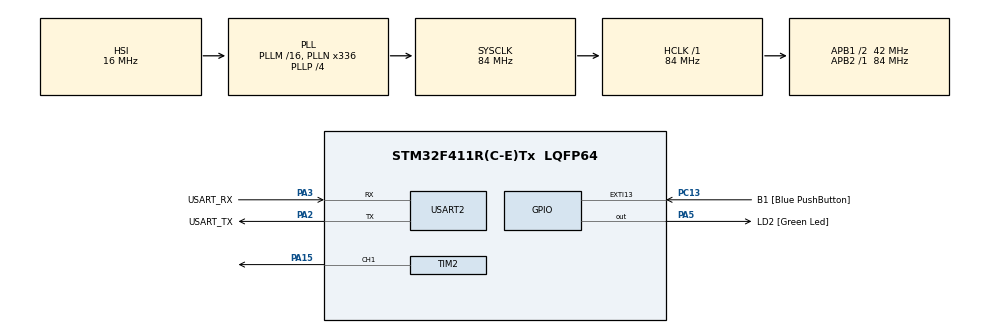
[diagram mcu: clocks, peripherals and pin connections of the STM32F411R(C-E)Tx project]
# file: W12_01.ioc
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Mcu.Family=STM32F4
Mcu.Name=STM32F411R(C-E)Tx
Mcu.Package=LQFP64
NVIC.PriorityGroup=NVIC_PRIORITYGROUP_0
PA13.GPIO_Label=TMS
PA13.Mode=Serial_Wire
PA13.Signal=SYS_JTMS-SWDIO
PA14.GPIO_Label=TCK
PA14.Mode=Serial_Wire
PA14.Signal=SYS_JTCK-SWCLK
PA15.Signal=S_TIM2_CH1_ETR
PA2.GPIO_Label=USART_TX
PA2.Mode=Asynchronous
PA2.Signal=USART2_TX
PA3.GPIO_Label=USART_RX
PA3.Mode=Asynchronous
PA3.Signal=USART2_RX
PA5.GPIO_Label=LD2 [Green Led]
PA5.Signal=GPIO_Output
PB3.GPIO_Label=SWO
PB3.Signal=SYS_JTDO-SWO
PC13-ANTI_TAMP.GPIO_Label=B1 [Blue PushButton]
PC13-ANTI_TAMP.GPIO_ModeDefaultEXTI=GPIO_MODE_IT_FALLING
PC13-ANTI_TAMP.Signal=GPXTI13
PC14-OSC32_IN.Mode=LSE-External-Oscillator
PC14-OSC32_IN.Signal=RCC_OSC32_IN
PC15-OSC32_OUT.Mode=LSE-External-Oscillator
PC15-OSC32_OUT.Signal=RCC_OSC32_OUT
PH0\ -\ OSC_IN.Mode=HSE-External-Clock-Source
PH0\ -\ OSC_IN.Signal=RCC_OSC_IN
PH1\ -\ OSC_OUT.Mode=HSE-External-Clock-Source
PH1\ -\ OSC_OUT.Signal=RCC_OSC_OUT
ProjectManager.HeapSize=0x200
ProjectManager.StackSize=0x400
ProjectManager.TargetToolchain=STM32CubeIDE
RCC.48MHZClocksFreq_Value=84000000
RCC.AHBFreq_Value=84000000
RCC.APB1CLKDivider=RCC_HCLK_DIV2
RCC.APB1Freq_Value=42000000
RCC.APB1TimFreq_Value=84000000
RCC.APB2Freq_Value=84000000
RCC.APB2TimFreq_Value=84000000
RCC.CortexFreq_Value=84000000
RCC.FLatency-AdvancedSettings=FLASH_LATENCY_2
RCC.HCLKFreq_Value=84000000
RCC.HSE_VALUE=8000000
RCC.HSI_VALUE=16000000
RCC.PLLN=336
RCC.PLLP=RCC_PLLP_DIV4
RCC.SYSCLKFreq_VALUE=84000000
RCC.SYSCLKSource=RCC_SYSCLKSOURCE_PLLCLK
RCC.VCOOutputFreq_Value=336000000
SH.S_TIM2_CH1_ETR.0=TIM2_CH1,PWM Generation1 CH1
TIM2.AutoReloadPreload=TIM_AUTORELOAD_PRELOAD_ENABLE
TIM2.Channel-PWM\ Generation1\ CH1=TIM_CHANNEL_1
TIM2.Period=999
TIM2.Prescaler=83
TIM2.Pulse-PWM\ Generation1\ CH1=499
USART2.VirtualMode=VM_ASYNC
VP_TIM2_VS_ClockSourceINT.Mode=Internal
board=NUCLEO-F411RE

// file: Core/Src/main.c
/* USER CODE BEGIN Header */
/**
  ******************************************************************************
  * @file           : main.c
  * @brief          : Main program body
  ******************************************************************************
  * @attention
  *
  * Copyright (c) 2023 STMicroelectronics.
  * All rights reserved.
  *
  * This software is licensed under terms that can be found in the LICENSE file
  * in the root directory of this software component.
  * If no LICENSE file comes with this software, it is provided AS-IS.
  *
  ******************************************************************************
  */
/* USER CODE END Header */
#include "main.h"

/* USER CODE BEGIN PD */

#define DO		261.63
#define RE		293.66
#define MI		329.63
#define FA		349.23
#define SOL		392.00
#define LA		440.00
#define TI		493.88
#define DDO		523.25
#define R		1	// Rest...
#define EOS		-1	// End of Score...
#define FREQUENCY	1000000
#define R		1	// Rest...
#define EOS		-1	// End of Score...
#define FREQUENCY	1000000
#define N2		60*1000/96*2

#define N4		60*1000/96

#define N2N4	(N2+N4)

#define N8		60*1000/96/2

#define N4N8	(N4+N8)

#define R4		60*1000/96

/* USER CODE END PD */

TIM_HandleTypeDef htim2;

UART_HandleTypeDef huart2;

void SystemClock_Config(void);
static void MX_GPIO_Init(void);
static void MX_USART2_UART_Init(void);
static void MX_TIM2_Init(void);

/* USER CODE BEGIN 0 */

#ifdef __GNUC__

/* With GCC, small printf (option LD Linker->Libraries->Small printf

   set to 'Yes') calls __io_putchar() */

#define PUTCHAR_PROTOTYPE int __io_putchar(int ch)

#else

#define PUTCHAR_PROTOTYPE int fputc(int ch, FILE *f)

#endif /* __GNUC__ */

/**

  * @brief  Retargets the C library printf function to the USART.

  * @param  None

  * @retval None

  */

PUTCHAR_PROTOTYPE {

  /* Place your implementation of fputc here */

  /* e.g. write a character to the USART1 and Loop until the end of transmission */

  if (ch == '\n')

    HAL_UART_Transmit (&huart2, (uint8_t*) "\r", 1, 0xFFFF);

  HAL_UART_Transmit (&huart2, (uint8_t*) &ch, 1, 0xFFFF);

  return ch;

}

/* USER CODE END 0 */

int main(void)
{
  /* USER CODE BEGIN 1 */

	int i = 0;

  /* USER CODE END 1 */

  /* MCU Configuration--------------------------------------------------------*/

  /* Reset of all peripherals, Initializes the Flash interface and the Systick. */
  HAL_Init();

  /* Configure the system clock */
  SystemClock_Config();

  /* Initialize all configured peripherals */
  MX_GPIO_Init();
  MX_USART2_UART_Init();
  MX_TIM2_Init();
  /* USER CODE BEGIN 2 */

  int song[] = {DO, RE, MI,  DO, MI,  DO, MI,  RE, MI,  FA, FA, MI,  RE, FA, R,

   			  MI, FA, SOL, MI, SOL, MI, SOL, FA, SOL, LA, LA, SOL, FA, LA, R, EOS};

   int time[] = {N4N8, N8, N4N8, N8, N4, N4, N2, N4N8, N8, N8, N8, N8, N8, N2N4, R4,

   			  N4N8, N8, N4N8, N8, N4, N4, N2, N4N8, N8, N8, N8, N8, N8, N2N4, R4, R4};

   // ?��교종?�� ?��?��?��

   int song2[] = { SOL, SOL, LA, LA, SOL, SOL, MI, SOL, SOL, MI, MI, RE, R,  SOL, SOL, LA, LA, SOL, SOL, MI,

   		SOL, MI,  RE, MI, DO, R, EOS};

   int time2[] = {  N4,  N4, N4, N4,  N4,  N4, N2, 	N4,  N4, N4, N4, N2, R4, N4,  N4, N4, N4,  N4,  N4, N2,

   		N4,  N4, N4, N4, N2, R4, R4};

  /* USER CODE END 2 */

  /* Infinite loop */
  /* USER CODE BEGIN WHILE */

  do{

            if(song2[i] == R)

                HAL_Delay(time2[i]);

            else{

                __HAL_TIM_SET_AUTORELOAD(&htim2, (FREQUENCY/song2[i] - 1));

                __HAL_TIM_SET_COMPARE(&htim2, TIM_CHANNEL_1, FREQUENCY/song2[i]/2);

                HAL_Delay(1);

                HAL_TIM_PWM_Start(&htim2, TIM_CHANNEL_1);

                HAL_Delay(time2[i]);

                HAL_TIM_PWM_Stop(&htim2, TIM_CHANNEL_1);

                HAL_Delay(1);

            }

        }while( song2[++i] != EOS);

        HAL_Delay(1000);

  while (1)
  {
    /* USER CODE END WHILE */

  }
}

void SystemClock_Config(void)
{
  RCC_OscInitTypeDef RCC_OscInitStruct = {0};
  RCC_ClkInitTypeDef RCC_ClkInitStruct = {0};

  /** Configure the main internal regulator output voltage
  */
  __HAL_RCC_PWR_CLK_ENABLE();
  __HAL_PWR_VOLTAGESCALING_CONFIG(PWR_REGULATOR_VOLTAGE_SCALE1);

  /** Initializes the RCC Oscillators according to the specified parameters
  * in the RCC_OscInitTypeDef structure.
  */
  RCC_OscInitStruct.OscillatorType = RCC_OSCILLATORTYPE_HSI;
  RCC_OscInitStruct.HSIState = RCC_HSI_ON;
  RCC_OscInitStruct.HSICalibrationValue = RCC_HSICALIBRATION_DEFAULT;
  RCC_OscInitStruct.PLL.PLLState = RCC_PLL_ON;
  RCC_OscInitStruct.PLL.PLLSource = RCC_PLLSOURCE_HSI;
  RCC_OscInitStruct.PLL.PLLM = 16;
  RCC_OscInitStruct.PLL.PLLN = 336;
  RCC_OscInitStruct.PLL.PLLP = RCC_PLLP_DIV4;
  RCC_OscInitStruct.PLL.PLLQ = 4;
  if (HAL_RCC_OscConfig(&RCC_OscInitStruct) != HAL_OK)
  {
    Error_Handler();
  }

  /** Initializes the CPU, AHB and APB buses clocks
  */
  RCC_ClkInitStruct.ClockType = RCC_CLOCKTYPE_HCLK|RCC_CLOCKTYPE_SYSCLK
                              |RCC_CLOCKTYPE_PCLK1|RCC_CLOCKTYPE_PCLK2;
  RCC_ClkInitStruct.SYSCLKSource = RCC_SYSCLKSOURCE_PLLCLK;
  RCC_ClkInitStruct.AHBCLKDivider = RCC_SYSCLK_DIV1;
  RCC_ClkInitStruct.APB1CLKDivider = RCC_HCLK_DIV2;
  RCC_ClkInitStruct.APB2CLKDivider = RCC_HCLK_DIV1;

  if (HAL_RCC_ClockConfig(&RCC_ClkInitStruct, FLASH_LATENCY_2) != HAL_OK)
  {
    Error_Handler();
  }
}

static void MX_TIM2_Init(void)
{

  TIM_ClockConfigTypeDef sClockSourceConfig = {0};
  TIM_MasterConfigTypeDef sMasterConfig = {0};
  TIM_OC_InitTypeDef sConfigOC = {0};

  htim2.Instance = TIM2;
  htim2.Init.Prescaler = 83;
  htim2.Init.CounterMode = TIM_COUNTERMODE_UP;
  htim2.Init.Period = 999;
  htim2.Init.ClockDivision = TIM_CLOCKDIVISION_DIV1;
  htim2.Init.AutoReloadPreload = TIM_AUTORELOAD_PRELOAD_ENABLE;
  if (HAL_TIM_Base_Init(&htim2) != HAL_OK)
  {
    Error_Handler();
  }
  sClockSourceConfig.ClockSource = TIM_CLOCKSOURCE_INTERNAL;
  if (HAL_TIM_ConfigClockSource(&htim2, &sClockSourceConfig) != HAL_OK)
  {
    Error_Handler();
  }
  if (HAL_TIM_PWM_Init(&htim2) != HAL_OK)
  {
    Error_Handler();
  }
  sMasterConfig.MasterOutputTrigger = TIM_TRGO_RESET;
  sMasterConfig.MasterSlaveMode = TIM_MASTERSLAVEMODE_DISABLE;
  if (HAL_TIMEx_MasterConfigSynchronization(&htim2, &sMasterConfig) != HAL_OK)
  {
    Error_Handler();
  }
  sConfigOC.OCMode = TIM_OCMODE_PWM1;
  sConfigOC.Pulse = 499;
  sConfigOC.OCPolarity = TIM_OCPOLARITY_HIGH;
  sConfigOC.OCFastMode = TIM_OCFAST_DISABLE;
  if (HAL_TIM_PWM_ConfigChannel(&htim2, &sConfigOC, TIM_CHANNEL_1) != HAL_OK)
  {
    Error_Handler();
  }
  HAL_TIM_MspPostInit(&htim2);

}

static void MX_USART2_UART_Init(void)
{

  huart2.Instance = USART2;
  huart2.Init.BaudRate = 115200;
  huart2.Init.WordLength = UART_WORDLENGTH_8B;
  huart2.Init.StopBits = UART_STOPBITS_1;
  huart2.Init.Parity = UART_PARITY_NONE;
  huart2.Init.Mode = UART_MODE_TX_RX;
  huart2.Init.HwFlowCtl = UART_HWCONTROL_NONE;
  huart2.Init.OverSampling = UART_OVERSAMPLING_16;
  if (HAL_UART_Init(&huart2) != HAL_OK)
  {
    Error_Handler();
  }

}

static void MX_GPIO_Init(void)
{
  GPIO_InitTypeDef GPIO_InitStruct = {0};

  /* GPIO Ports Clock Enable */
  __HAL_RCC_GPIOC_CLK_ENABLE();
  __HAL_RCC_GPIOH_CLK_ENABLE();
  __HAL_RCC_GPIOA_CLK_ENABLE();
  __HAL_RCC_GPIOB_CLK_ENABLE();

  /*Configure GPIO pin Output Level */
  HAL_GPIO_WritePin(LD2_GPIO_Port, LD2_Pin, GPIO_PIN_RESET);

  /*Configure GPIO pin : B1_Pin */
  GPIO_InitStruct.Pin = B1_Pin;
  GPIO_InitStruct.Mode = GPIO_MODE_IT_FALLING;
  GPIO_InitStruct.Pull = GPIO_NOPULL;
  HAL_GPIO_Init(B1_GPIO_Port, &GPIO_InitStruct);

  /*Configure GPIO pin : LD2_Pin */
  GPIO_InitStruct.Pin = LD2_Pin;
  GPIO_InitStruct.Mode = GPIO_MODE_OUTPUT_PP;
  GPIO_InitStruct.Pull = GPIO_NOPULL;
  GPIO_InitStruct.Speed = GPIO_SPEED_FREQ_LOW;
  HAL_GPIO_Init(LD2_GPIO_Port, &GPIO_InitStruct);

}

void Error_Handler(void)
{
  __disable_irq();
  while (1)
  {
  }
}
